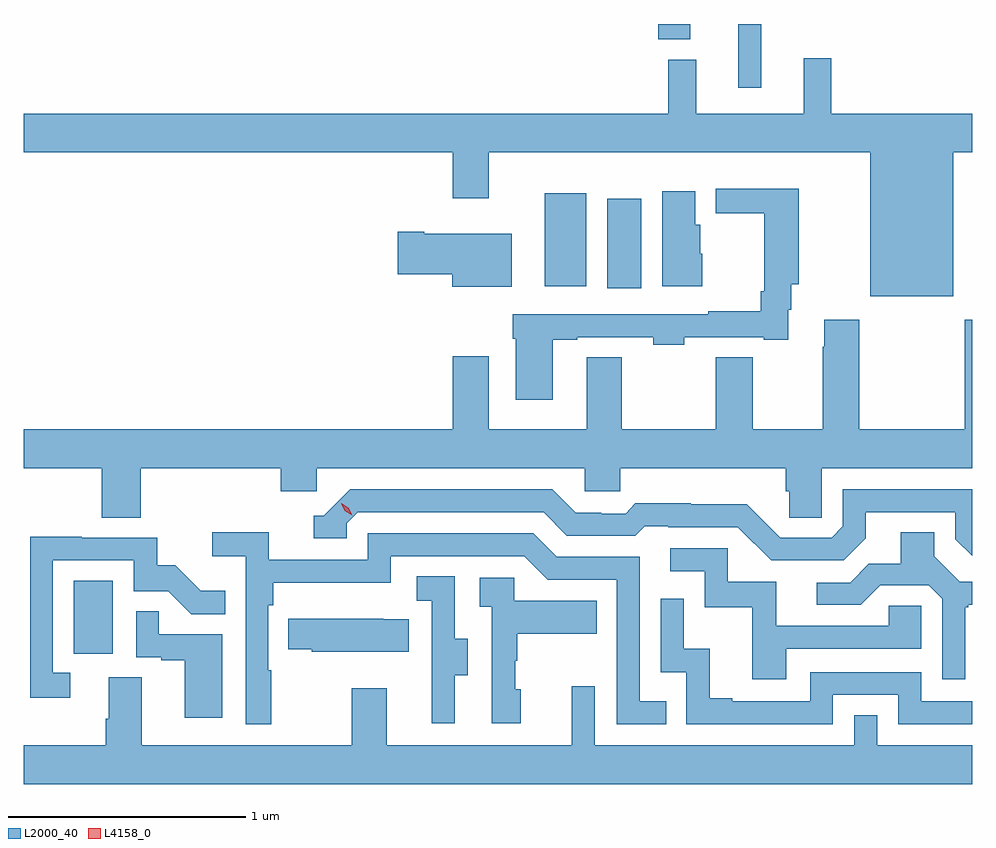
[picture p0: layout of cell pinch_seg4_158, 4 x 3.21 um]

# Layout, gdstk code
import gdstk
lib = gdstk.Library(unit=1e-6, precision=1e-09)
def R(c, l, rs):  # rectangles x0, y0, x1, y1
    for r in rs: c.add(gdstk.rectangle(r[:2], r[2:], *l))
def P(c, l, *ps):  # polygons
    for p in ps: c.add(gdstk.Polygon(p, *l))
L2000_40 = (2000, 40)
L4158_0 = (4158, 0)

pinch_seg4_158 = lib.new_cell('pinch_seg4_158')
R(pinch_seg4_158, L2000_40, [(1128.356,796.038,1128.52,796.345), (1130.606,797.58,1130.749,797.956), (1130.342,797.588,1130.518,797.98), (1131.159,798.426,1131.256,798.694), (1130.822,798.629,1130.956,798.694)])
P(pinch_seg4_158, L2000_40, [(1132.066,798.152),(1132.145,798.152),(1132.145,798.316),(1131.551,798.316),(1131.551,798.55),(1131.434,798.55),(1131.434,798.316),(1130.981,798.316),(1130.981,798.544),(1130.863,798.544),(1130.863,798.316),(1128.145,798.316),(1128.145,798.152),(1129.955,798.152),(1129.955,797.958),(1130.107,797.958),(1130.107,798.152),(1131.716,798.152),(1131.716,797.546),(1132.066,797.546)],
  [(1130.377,797.361),(1130.479,797.361),(1130.479,797.373),(1130.799,797.373),(1130.799,797.341),(1130.931,797.341),(1130.931,797.373),(1131.266,797.373),(1131.266,797.361),(1131.37,797.361),(1131.37,797.489),(1131.382,797.489),(1131.382,797.597),(1131.414,797.597),(1131.414,797.998),(1131.063,797.998),(1131.063,797.896),(1131.268,797.896),(1131.268,797.566),(1131.253,797.566),(1131.253,797.482),(1131.031,797.482),(1131.031,797.469),(1130.207,797.469),(1130.207,797.366),(1130.219,797.366),(1130.219,797.109),(1130.377,797.109)],
  [(1131.007,797.724),(1130.998,797.724),(1130.998,797.847),(1130.977,797.847),(1130.977,797.989),(1130.837,797.989),(1130.837,797.588),(1131.007,797.588)],
  [(1130.203,797.809),(1129.834,797.809),(1129.834,797.817),(1129.722,797.817),(1129.722,797.639),(1129.952,797.639),(1129.952,797.585),(1130.203,797.585)],
  [(1128.638,796.82),(1129.229,796.82),(1129.229,796.722),(1129.38,796.722),(1129.38,796.82),(1130.511,796.82),(1130.511,796.722),(1130.661,796.722),(1130.661,796.82),(1131.359,796.82),(1131.359,796.722),(1131.373,796.722),(1131.373,796.612),(1131.51,796.612),(1131.51,796.82),(1132.145,796.82),(1132.145,797.446),(1132.114,797.446),(1132.114,796.984),(1131.669,796.984),(1131.669,797.446),(1131.521,797.446),(1131.521,797.333),(1131.514,797.333),(1131.514,796.984),(1131.219,796.984),(1131.219,797.288),(1131.064,797.288),(1131.064,796.984),(1130.666,796.984),(1130.666,797.288),(1130.519,797.288),(1130.519,796.984),(1130.107,796.984),(1130.107,797.293),(1129.955,797.293),(1129.955,796.984),(1128.145,796.984),(1128.145,796.82),(1128.473,796.82),(1128.473,796.612),(1128.638,796.612)],
  [(1131.697,796.525),(1131.697,796.635),(1132.074,796.635),(1132.074,796.521),(1132.145,796.45),(1132.145,796.731),(1131.6,796.731),(1131.6,796.575),(1131.552,796.527),(1131.336,796.527),(1131.194,796.669),(1130.958,796.669),(1130.958,796.672),(1130.725,796.672),(1130.683,796.629),(1130.58,796.629),(1130.58,796.632),(1130.473,796.632),(1130.374,796.731),(1129.521,796.731),(1129.41,796.62),(1129.367,796.62),(1129.367,796.524),(1129.506,796.524),(1129.506,796.587),(1129.554,796.635),(1130.337,796.635),(1130.436,796.536),(1130.725,796.536),(1130.764,796.575),(1130.863,796.575),(1130.863,796.572),(1131.156,796.572),(1131.297,796.431),(1131.603,796.431)],
  [(1129.189,795.968),(1129.176,795.968),(1129.176,796.241),(1129.196,796.241),(1129.196,796.337),(1129.692,796.337),(1129.692,796.449),(1130.256,796.449),(1130.355,796.35),(1130.646,796.35),(1130.646,795.741),(1130.855,795.741),(1130.855,795.837),(1130.742,795.837),(1130.742,796.446),(1130.392,796.446),(1130.293,796.545),(1129.596,796.545),(1129.596,796.434),(1129.178,796.434),(1129.178,796.55),(1128.939,796.55),(1128.939,796.448),(1129.08,796.448),(1129.08,795.741),(1129.189,795.741)],
  [(1132.117,796.233),(1132.129,796.233),(1132.129,796.244),(1132.145,796.244),(1132.145,796.341),(1132.092,796.341),(1131.985,796.448),(1131.985,796.55),(1131.845,796.55),(1131.845,796.418),(1131.71,796.418),(1131.63,796.338),(1131.489,796.338),(1131.489,796.245),(1131.676,796.245),(1131.757,796.326),(1131.963,796.326),(1132.02,796.269),(1132.02,795.93),(1132.117,795.93)],
  [(1128.34,795.957),(1128.267,795.957),(1128.267,796.431),(1128.609,796.431),(1128.609,796.302),(1128.753,796.302),(1128.851,796.204),(1128.995,796.204),(1128.995,796.303),(1128.891,796.303),(1128.784,796.41),(1128.708,796.41),(1128.708,796.527),(1128.389,796.527),(1128.389,796.532),(1128.171,796.532),(1128.171,795.852),(1128.34,795.852)],
  [(1131.361,796.059),(1131.93,796.059),(1131.93,796.239),(1131.793,796.239),(1131.793,796.155),(1131.319,796.155),(1131.319,796.341),(1131.114,796.341),(1131.114,796.482),(1130.871,796.482),(1130.871,796.386),(1131.018,796.386),(1131.018,796.233),(1131.217,796.233),(1131.217,795.93),(1131.361,795.93)],
  [(1129.963,795.946),(1130.017,795.946),(1130.017,796.101),(1129.962,796.101),(1129.962,796.364),(1129.803,796.364),(1129.803,796.261),(1129.866,796.261),(1129.866,795.957),(1129.865,795.957),(1129.865,795.744),(1129.963,795.744)],
  [(1130.242,795.888),(1130.217,795.888),(1130.217,796.007),(1130.227,796.007),(1130.227,796.121),(1130.561,796.121),(1130.561,796.261),(1130.214,796.261),(1130.214,796.359),(1130.067,796.359),(1130.067,796.235),(1130.118,796.235),(1130.118,795.744),(1130.242,795.744)],
  [(1131.558,795.864),(1131.834,795.864),(1131.834,795.741),(1132.145,795.741),(1132.145,795.837),(1131.93,795.837),(1131.93,795.96),(1131.462,795.96),(1131.462,795.837),(1131.133,795.837),(1131.133,795.85),(1131.038,795.85),(1131.038,796.058),(1130.928,796.058),(1130.928,796.27),(1130.832,796.27),(1130.832,795.96),(1130.94,795.96),(1130.94,795.741),(1131.558,795.741)],
  [(1128.982,796.119),(1128.713,796.119),(1128.713,796.217),(1128.618,796.217),(1128.618,796.023),(1128.725,796.023),(1128.725,796.011),(1128.824,796.011),(1128.824,795.768),(1128.982,795.768)],
  [(1129.769,796.183),(1129.661,796.183),(1129.661,796.186),(1129.261,796.186),(1129.261,796.057),(1129.359,796.057),(1129.359,796.046),(1129.769,796.046)],
  [(1132.145,795.652),(1131.744,795.652),(1131.744,795.779),(1131.648,795.779),(1131.648,795.652),(1130.553,795.652),(1130.553,795.901),(1130.456,795.901),(1130.456,795.652),(1129.675,795.652),(1129.675,795.892),(1129.528,795.892),(1129.528,795.652),(1128.643,795.652),(1128.643,795.938),(1128.503,795.938),(1128.503,795.764),(1128.491,795.764),(1128.491,795.652),(1128.145,795.652),(1128.145,795.488),(1132.145,795.488)])
P(pinch_seg4_158, L4158_0, [(1129.53,796.621),(1129.499,796.641),(1129.483,796.673),(1129.483,796.673),(1129.483,796.673),(1129.514,796.654),(1129.53,796.622),(1129.53,796.621)])

lib.write_gds('pinch_seg4_158.gds')
